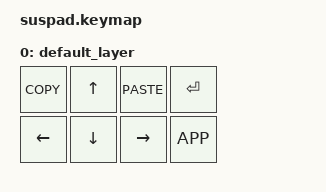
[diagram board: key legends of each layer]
/*
 * Copyright (c) 2020 The ZMK Contributors
 *
 * SPDX-License-Identifier: MIT
 */

#include <behaviors.dtsi>
#include <dt-bindings/zmk/keys.h>

/ {
  keymap {
    compatible = "zmk,keymap";

    default_layer {
      bindings = <
        &kp K_COPY  &kp UP      &kp K_PASTE  &kp ENTER
        &kp LEFT    &kp DOWN    &kp RIGHT    &kp K_APP
      >;
    };
  };
};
